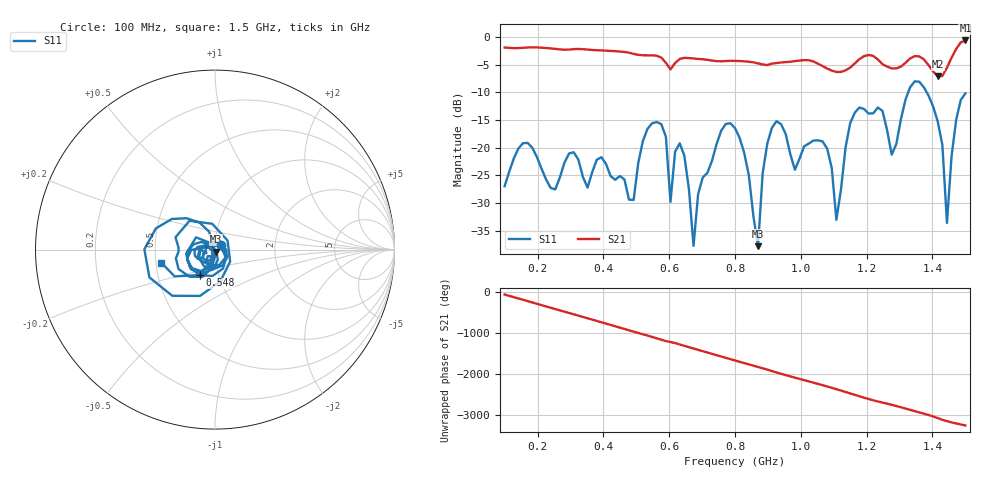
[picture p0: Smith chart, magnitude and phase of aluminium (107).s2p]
! NanoVNA-App
! Date: 2025-09-26 09:58:53
! Start: 100MHz Stop: 1,5GHz Points: 101
! S-Parameter data: F S11 S21 S12 S22
# Hz S RI R 50
!  Frequency  S11_Real  S11_Imag  S21_Real  S21_Imag  S12_Real  S12_Imag  S22_Real  S22_Imag
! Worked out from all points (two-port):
!   101 points, 100 MHz to 1.5 GHz, reference 50 ohm
!   highest |S21| = -0.64 dB at 1.5 GHz (marker M1); lowest = -7.1 dB at 1.416 GHz (marker M2)
!   |S21| within 3 dB of the highest: start of sweep to 572.4 MHz; 1.188 GHz to 1.225 GHz (36.84 MHz wide, 3.05 % of centre) (the widest 2 of 4)
!   lowest |S11| = -37.8 dB at 870 MHz (marker M3), VSWR 1.03, Z = 50.7 - j1.08 ohm
!   |S11| at or under -10 dB: start of sweep to 1.326 GHz; 1.382 GHz to end of sweep
!   S12 and S22 are empty: the file has one direction only
!   S11 on the Smith chart (normalised r, x): 100 MHz: 1.07, +0.06; 548 MHz: 0.81, -0.24; 1.5 GHz: 0.53, -0.09
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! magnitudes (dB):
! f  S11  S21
! 100 MHz  -27.0  -1.9
! 156 MHz  -19.2  -2.0
! 338 MHz  -25.3  -2.2
! 492 MHz  -29.5  -3.1
! 548 MHz  -15.6  -3.3
! 576 MHz  -15.8  -3.7
! 604 MHz  -29.8  -5.9
! 646 MHz  -21.4  -3.8
! 674 MHz  -37.8  -3.9
! 702 MHz  -25.4  -4.0
! 800 MHz  -16.5  -4.3
! 870 MHz  -37.8  -4.8
! 912 MHz  -16.4  -4.8
! 1.038 GHz  -18.7  -4.4
! 1.08 GHz  -20.2  -5.7
! 1.108 GHz  -33.0  -6.3
! 1.164 GHz  -13.7  -4.8
! 1.276 GHz  -21.3  -5.7
! 1.346 GHz  -8.0  -3.5
! 1.416 GHz  -15.3  -7.1
! 1.444 GHz  -33.6  -5.6
! 1.5 GHz  -10.2  -0.6
